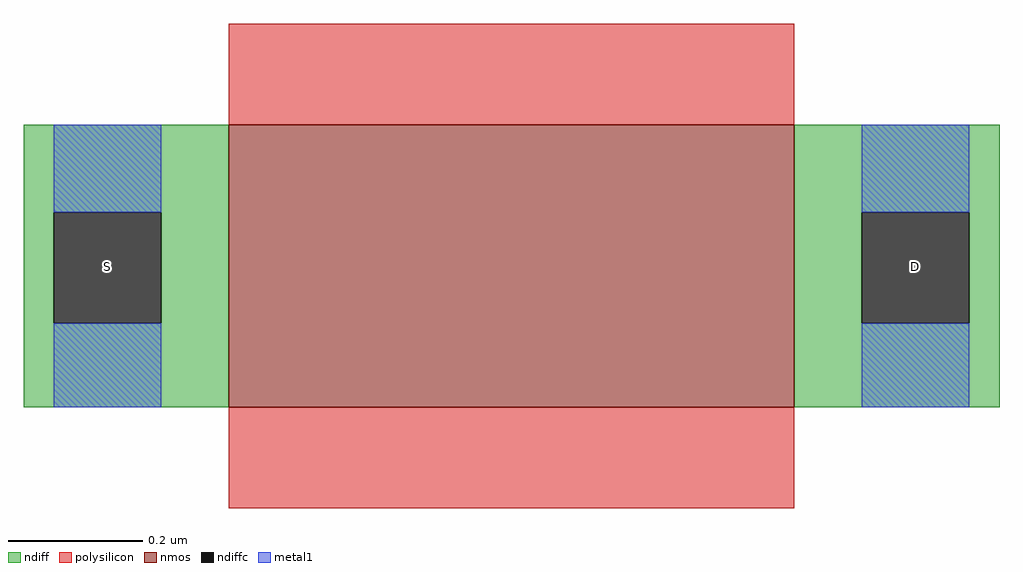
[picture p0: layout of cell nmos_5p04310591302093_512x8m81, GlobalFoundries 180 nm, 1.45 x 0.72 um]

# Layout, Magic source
magic
tech gf180mcuD
magscale 1 10
<< nmos >>
rect 0 0 168 84
<< ndiff >>
rect -61 58 0 84
rect -61 25 -52 58
rect -20 25 0 58
rect -61 0 0 25
rect 168 58 229 84
rect 168 25 188 58
rect 220 25 229 58
rect 168 0 229 25
<< ndiffc >>
rect -52 25 -20 58
rect 188 25 220 58
<< polysilicon >>
rect 0 84 168 114
rect 0 -30 168 0
<< metal1 >>
rect -52 58 -20 84
rect -52 0 -20 25
rect 188 58 220 84
rect 188 0 220 25
<< labels >>
flabel ndiffc -36 42 -36 42 0 FreeSans 140 0 0 0 S
flabel ndiffc 204 42 204 42 0 FreeSans 140 0 0 0 D
<< end >>
